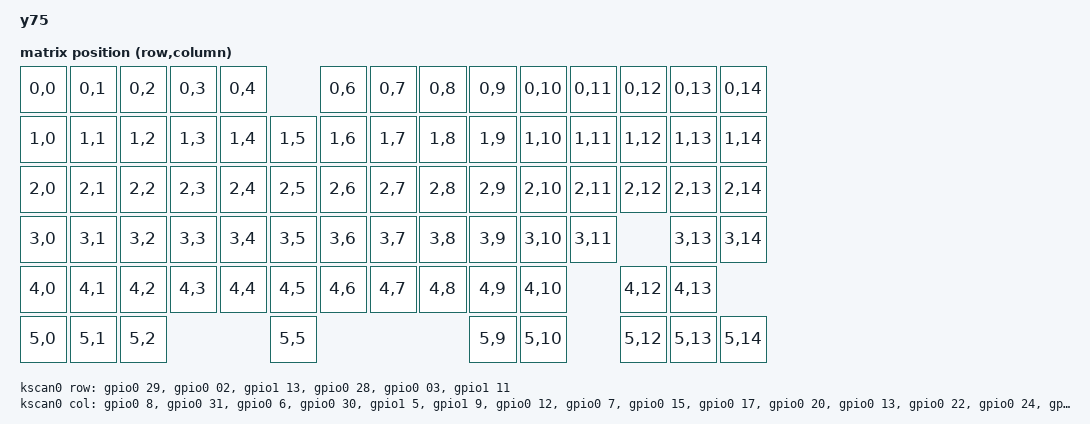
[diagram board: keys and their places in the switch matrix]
/*
 * Copyright (c) 2021 Nick Winans
 *
 * SPDX-License-Identifier: MIT
 */

/dts-v1/;
#include <nordic/nrf52840_qiaa.dtsi>

#include <dt-bindings/led/led.h>
#include <dt-bindings/zmk/matrix_transform.h>

/ {
	model = "y75";
	compatible = "y75";

	chosen {
		zephyr,code-partition = &code_partition;
		zephyr,sram = &sram0;
		zephyr,flash = &flash0;
		zephyr,console = &cdc_acm_uart;
		zmk,battery = &vbatt;
		zmk,kscan = &kscan0;
		zmk,matrix_transform = &default_transform;
		zmk,underglow = &led_strip;
	};

	default_transform: keymap_transform_0 {
		compatible = "zmk,matrix-transform";
		columns = <15>;
		rows = <5>;
		map = <
RC(0,0) RC(0,1) RC(0,2) RC(0,3) RC(0,4)         RC(0,6) RC(0,7) RC(0,8) RC(0,9) RC(0,10) RC(0,11) RC(0,12) RC(0,13) RC(0,14)    
RC(1,0) RC(1,1) RC(1,2) RC(1,3) RC(1,4) RC(1,5) RC(1,6) RC(1,7) RC(1,8) RC(1,9) RC(1,10) RC(1,11) RC(1,12) RC(1,13) RC(1,14)   
RC(2,0) RC(2,1) RC(2,2) RC(2,3) RC(2,4) RC(2,5) RC(2,6) RC(2,7) RC(2,8) RC(2,9) RC(2,10) RC(2,11) RC(2,12) RC(2,13) RC(2,14) 
RC(3,0) RC(3,1) RC(3,2) RC(3,3) RC(3,4) RC(3,5) RC(3,6) RC(3,7) RC(3,8) RC(3,9) RC(3,10) RC(3,11)          RC(3,13) RC(3,14)
RC(4,0) RC(4,1) RC(4,2) RC(4,3) RC(4,4) RC(4,5) RC(4,6) RC(4,7) RC(4,8) RC(4,9) RC(4,10)          RC(4,12) RC(4,13)                   
RC(5,0) RC(5,1) RC(5,2)                 RC(5,5)                         RC(5,9) RC(5,10)          RC(5,12) RC(5,13) RC(5,14)  
		>;
	};

	kscan0: kscan {
		compatible = "zmk,kscan-gpio-matrix";
		label = "KSCAN";

		diode-direction = "col2row";
		row-gpios
			= <&gpio0 29 (GPIO_ACTIVE_HIGH | GPIO_PULL_DOWN)>
			, <&gpio0 02 (GPIO_ACTIVE_HIGH | GPIO_PULL_DOWN)>
			, <&gpio1 13 (GPIO_ACTIVE_HIGH | GPIO_PULL_DOWN)>
			, <&gpio0 28 (GPIO_ACTIVE_HIGH | GPIO_PULL_DOWN)>
			, <&gpio0 03 (GPIO_ACTIVE_HIGH | GPIO_PULL_DOWN)>
			, <&gpio1 11 (GPIO_ACTIVE_HIGH | GPIO_PULL_DOWN)>
			;
		col-gpios
			= <&gpio0  8 GPIO_ACTIVE_HIGH> //0
			, <&gpio0 31 GPIO_ACTIVE_HIGH> //1
			, <&gpio0  6 GPIO_ACTIVE_HIGH> //2
			, <&gpio0 30 GPIO_ACTIVE_HIGH> //3
			, <&gpio1  5 GPIO_ACTIVE_HIGH> //4
			, <&gpio1  9 GPIO_ACTIVE_HIGH> //5
			, <&gpio0 12 GPIO_ACTIVE_HIGH> //6
			, <&gpio0  7 GPIO_ACTIVE_HIGH> //7
			, <&gpio0 15 GPIO_ACTIVE_HIGH> //8
			, <&gpio0 17 GPIO_ACTIVE_HIGH> //9
			, <&gpio0 20 GPIO_ACTIVE_HIGH> //10
			, <&gpio0 13 GPIO_ACTIVE_HIGH> //11
			, <&gpio0 22 GPIO_ACTIVE_HIGH> //12
			, <&gpio0 24 GPIO_ACTIVE_HIGH> //13
			, <&gpio1  0 GPIO_ACTIVE_HIGH> //14
			;
	};
	leds {
		compatible = "gpio-leds";
		blue_led: led_0 {
			gpios = <&gpio0 26 GPIO_ACTIVE_HIGH>;
			label = "Blue LED";
		};
	};

	ext-power {
		compatible = "zmk,ext-power-generic";
		label = "EXT_POWER";
		control-gpios = <&gpio0 9 GPIO_ACTIVE_LOW>;
	};

	vbatt: vbatt {
		compatible = "zmk,battery-voltage-divider";
		label = "BATTERY";
		io-channels = <&adc 2>;
		output-ohms = <2000000>;
		full-ohms = <(2000000 + 806000)>;
	};
};

&adc {
	status = "okay";
};

&gpiote {
	status = "okay";
};

&gpio0 {
	status = "okay";
};

&gpio1 {
	status = "okay";
};

&spi0 {
	compatible = "nordic,nrf-spim";
	/* Cannot be used together with i2c0. */
	status = "okay";
	sck-pin = <27>;
	mosi-pin = <26>;
	miso-pin = <25>;

	led_strip: ws2812@0 {
		compatible = "worldsemi,ws2812-spi";
		label = "WS2812";

		/* SPI */
		reg = <0>; /* ignored, but necessary for SPI bindings */
		spi-max-frequency = <4000000>;

		/* WS2812 */
		chain-length = <4>; /* LED strip length */
		spi-one-frame = <0x70>;
		spi-zero-frame = <0x40>;
		color-mapping = <LED_COLOR_ID_GREEN LED_COLOR_ID_RED LED_COLOR_ID_BLUE>;
	};
};

&usbd {
	status = "okay";
	cdc_acm_uart: cdc_acm_uart {
		compatible = "zephyr,cdc-acm-uart";
		label = "CDC_ACM_0";
	};
};

&flash0 {
	/*
	 * For more information, see:
	 * http://docs.zephyrproject.org/latest/devices/dts/flash_partitions.html
	 */
	partitions {
		compatible = "fixed-partitions";
		#address-cells = <1>;
		#size-cells = <1>;

		sd_partition: partition@0 {
			label = "mbr";
			reg = <0x00000000 0x00001000>;
		};

		code_partition: partition@1000 {
			label = "code_partition";
			reg = <0x00001000 0x000d3000>;
		};

		/*
		 * The flash starting at 0x000d4000 and ending at
		 * 0x000f3fff is reserved for use by the application.
		 */

		/*
		 * Storage partition will be used by FCB/LittleFS/NVS
		 * if enabled.
		 */
		storage_partition: partition@d4000 {
			label = "storage";
			reg = <0x000d4000 0x00020000>;
		};

		boot_partition: partition@f4000 {
			label = "adafruit_boot";
			reg = <0x000f4000 0x0000c000>;
		};
	};
};
